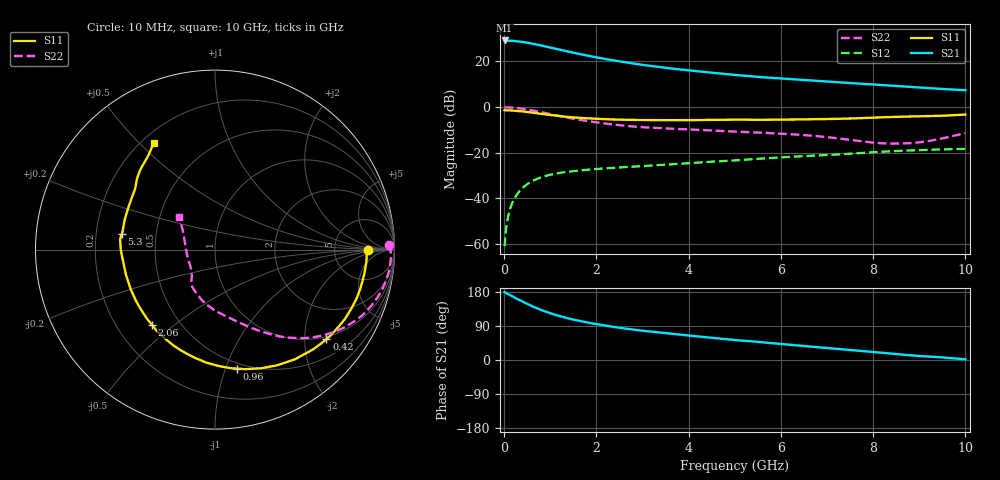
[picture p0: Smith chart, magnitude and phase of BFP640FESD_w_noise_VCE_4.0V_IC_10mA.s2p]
! Infineon Technologies  Discrete & RF Semiconductors
! BFP640FESD
! VCE =  4.0 V,  IC =  10 mA
! Common Emitter S-Parameters:  Jan 2016
# GHz  S  MA  R  50
!  f  S11  S21  S12  S22
! GHz  MAG  ANG  MAG  ANG  MAG  ANG  MAG  ANG
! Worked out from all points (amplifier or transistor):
!   233 points, 10 MHz to 10 GHz, reference 50 ohm
!   highest |S21| = 29.1 dB at 10 MHz (marker M1)
!   |S21| within 3 dB of that: start of sweep to 979.1 MHz
!   unconditionally stable (mu >= 1): start of sweep to 14.03 MHz; 5.069 GHz to end of sweep
!   at 200 MHz: K = 0.15, MSG = 34.9 dB, |S12| = -40.9 dB
!   at 1.74 GHz: K = 0.49, MSG = 25.2 dB, |S12| = -27.6 dB
!   at 10 GHz: K = 1.12, MAG = 10.7 dB, |S12| = -18.3 dB
!   lowest NFmin = 0.67 dB at 450 MHz
!   S11 on the Smith chart (normalised r, x): 10 MHz: 13, -0; 420 MHz: 0.93, -2.54; 960 MHz: 0.45, -1.09; 2.06 GHz: 0.35, -0.42; 5.3 GHz: 0.31, +0.07; 10 GHz: 0.25, +0.55
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0.01  0.854 -0.3  28.6 179.0  0.0009 7.7  0.9683 1.5
0.08  0.8435 -7.5  28.27 174.5  0.0038 72.6  0.9801 -4.3
0.2  0.835 -18.9  28.03 166.7  0.009 74.9  0.966 -11.0
0.28  0.8226 -26.4  27.52 161.3  0.0123 72.9  0.949 -15.3
0.42  0.7963 -38.8  26.39 152.6  0.0177 68.1  0.9094 -22.3
0.6  0.7562 -53.9  24.53 142.0  0.0237 62.0  0.8461 -30.5
0.7  0.732 -61.7  23.41 136.9  0.0265 59.0  0.8091 -34.5
0.8  0.7091 -68.9  22.23 132.0  0.0289 56.3  0.7714 -38.2
0.96  0.6739 -79.7  20.45 125.1  0.0322 52.5  0.7135 -43.5
1.1  0.6487 -88.3  19 119.5  0.0346 49.9  0.6661 -47.7
1.3  0.6171 -99.4  17.1 112.5  0.0374 46.7  0.606 -53.1
1.5  0.5924 -108.8  15.42 106.6  0.0396 44.5  0.5543 -57.6
1.68  0.5741 -116.6  14.14 101.8  0.0412 43.0  0.5153 -61.4
2.06  0.5478 -129.7  11.89 93.4  0.0443 41.2  0.4526 -68.3
2.6  0.5265 -145.7  9.607 83.3  0.0483 39.8  0.3901 -77.8
3.4  0.5151 -162.5  7.407 72.2  0.0539 39.8  0.344 -88.7
4  0.5161 -172.3  6.325 64.6  0.0588 40.4  0.3235 -94.3
5.1  0.53 172.8  4.94 51.8  0.0688 39.8  0.2865 -105.9
5.3  0.527 170.6  4.745 49.9  0.0711 40.1  0.2816 -107.1
6.8  0.5411 151.0  3.71 33.8  0.0869 36.5  0.2291 -124.5
8.4  0.605 134.0  2.93 16.7  0.1079 31.5  0.1588 -162.5
10  0.6837 120.0  2.331 1.8  0.1213 22.5  0.2686 137.7
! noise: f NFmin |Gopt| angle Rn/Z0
0.45  0.67  0.2  5  0.1
2.4  0.75  0.1  68  0.1
5.5  0.99  0.3  160  0.07
10  1.63  0.46  -117  0.24
